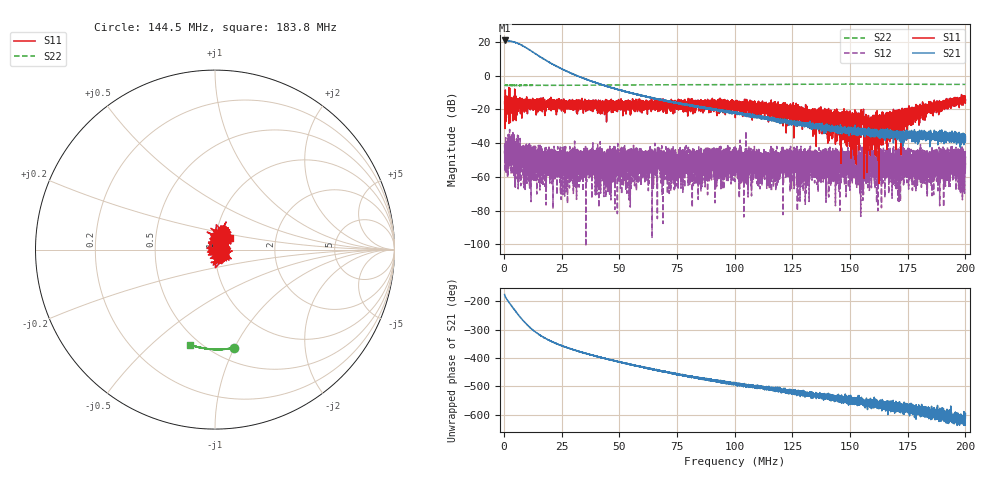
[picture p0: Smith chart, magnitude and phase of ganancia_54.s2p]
# Hz S DB R 50
! CMT, M5065, 19127446, 24.2.4/2
! Date: 11/8/2024 4:16:45 PM
! Data: Format (Calibration Info)
! Freq	S11:dB/Ang(F2)	S21:dB/Ang(F2)	S12:dB/Ang(F2)	S22:dB/Ang(F2)
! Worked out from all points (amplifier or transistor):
!   9000 points, 300 kHz to 200 MHz, reference 50 ohm
!   highest |S21| = 20.8 dB at 455.3 kHz (marker M1)
!   |S21| within 3 dB of that: start of sweep to 7.929 MHz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
!   unconditionally stable (mu >= 1): start of sweep to end of sweep
!   at 33.59 MHz: K = 340.70, MAG = 0.3 dB, |S12| = -58.5 dB
!   at 100.2 MHz: K = 6112.62, MAG = -20.5 dB, |S12| = -62.9 dB
!   at 200 MHz: K = 10328.29, MAG = -34.8 dB, |S12| = -53.2 dB
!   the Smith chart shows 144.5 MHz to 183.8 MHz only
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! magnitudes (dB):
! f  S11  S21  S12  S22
! 300 kHz  -15.5  20.7  -44.5  -5.8
! 455.3 kHz  -31.4  20.8  -49.3  -5.8
! 7.024 MHz  -17.1  18.4  -37.3  -6.0
! 17.37 MHz  -14.5  9.7  -55.6  -5.8
! 33.59 MHz  -15.7  -1.1  -58.5  -5.7
! 37.76 MHz  -15.3  -3.3  -46.8  -5.7
! 40.67 MHz  -16.6  -4.7  -55.8  -5.7
! 45.73 MHz  -17.5  -6.7  -49.3  -5.6
! 66.87 MHz  -19.4  -13.9  -42.5  -5.5
! 69.45 MHz  -18.4  -14.9  -61.4  -5.5
! 100.2 MHz  -16.8  -22.0  -62.9  -5.4
! 110.9 MHz  -17.3  -24.3  -61.2  -5.4
! 112.9 MHz  -22.2  -24.7  -59.0  -5.3
! 114.7 MHz  -20.8  -25.4  -51.7  -5.3
! 133.4 MHz  -22.4  -29.7  -46.5  -5.1
! 136.4 MHz  -24.4  -29.8  -55.8  -5.1
! 149.4 MHz  -36.0  -32.5  -50.9  -5.1
! 154.9 MHz  -21.6  -32.9  -46.3  -5.1
! 157 MHz  -32.1  -32.3  -50.7  -5.1
! 166.7 MHz  -34.1  -33.8  -48.7  -5.1
! 196 MHz  -14.5  -37.0  -53.6  -5.2
! 200 MHz  -14.7  -36.5  -53.2  -5.3
